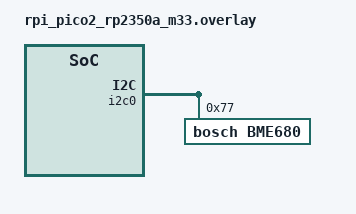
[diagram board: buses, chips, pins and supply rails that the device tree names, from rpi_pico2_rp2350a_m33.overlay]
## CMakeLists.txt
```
cmake_minimum_required(VERSION 3.20.0)
find_package(Zephyr REQUIRED HINTS $ENV{ZEPHYR_BASE})
project(mpu6050_driver_app)

target_sources(app PRIVATE src/main.c)
add_subdirectory(drivers/sensor/mpu6050)
```

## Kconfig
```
rsource "drivers/sensor/mpu6050/Kconfig"
```

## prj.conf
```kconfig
CONFIG_SENSOR=y
CONFIG_I2C=y
CONFIG_LOG=y
CONFIG_MPU6050_CUSTOM=y
```

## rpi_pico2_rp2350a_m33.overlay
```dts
&i2c0 {
    status = "okay";

    bme680@77 {
        compatible = "bosch,bme680";
        reg = <0x77>;
        status = "okay";
    };
};
```

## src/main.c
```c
#include <stdio.h>

#include <zephyr/device.h>
#include <zephyr/devicetree.h>
#include <zephyr/drivers/sensor.h>
#include <zephyr/kernel.h>

#define MPU6050_NODE DT_ALIAS(mpu6050)

#if !DT_NODE_EXISTS(MPU6050_NODE)
#define MPU6050_NODE DT_NODELABEL(mpu6050)
#endif

int main(void)
{
    const struct device *imu = DEVICE_DT_GET(MPU6050_NODE);
    struct sensor_value accel[3];
    struct sensor_value gyro[3];
    struct sensor_value temp;
    int ret;

    printf("MPU6050 Zephyr Sensor API demo starting...\n");

    if (!device_is_ready(imu)) {
        printf("MPU6050 device is not ready\n");
        return 0;
    }

    while (1) {
        ret = sensor_sample_fetch(imu);
        if (ret != 0) {
            printf("sensor_sample_fetch failed: %d\n", ret);
            k_sleep(K_SECONDS(1));
            continue;
        }

        sensor_channel_get(imu, SENSOR_CHAN_ACCEL_XYZ, accel);
        sensor_channel_get(imu, SENSOR_CHAN_GYRO_XYZ, gyro);
        sensor_channel_get(imu, SENSOR_CHAN_DIE_TEMP, &temp);

        printf("ACC [m/s^2] x=%.2f y=%.2f z=%.2f\n",
               sensor_value_to_double(&accel[0]),
               sensor_value_to_double(&accel[1]),
               sensor_value_to_double(&accel[2]));

        printf("GYRO [rad/s] x=%.2f y=%.2f z=%.2f\n",
               sensor_value_to_double(&gyro[0]),
               sensor_value_to_double(&gyro[1]),
               sensor_value_to_double(&gyro[2]));

        printf("TEMP [C] %.2f\n\n", sensor_value_to_double(&temp));

        k_sleep(K_SECONDS(1));
    }
}
```
